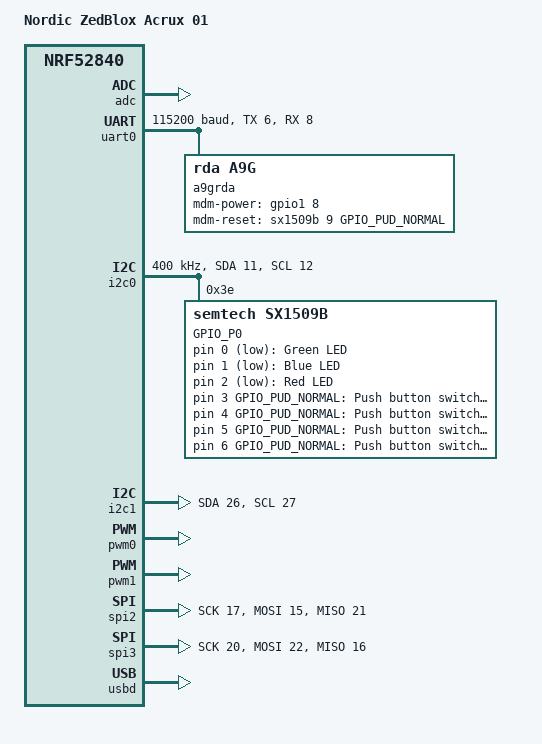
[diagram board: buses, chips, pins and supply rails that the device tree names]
/*
 * Copyright (c) 2017 Linaro Limited
 *
 * SPDX-License-Identifier: Apache-2.0
 */

/dts-v1/;
#include <nordic/nrf52840_qiaa.dtsi>

/ {
	model = "Nordic ZedBlox Acrux 01";
	compatible = "nordic,acrux-01", "nordic,nrf52840-qiaa",
		     "nordic,nrf52840";

	chosen {
		zephyr,console = &uart0;
		zephyr,shell-uart = &uart0;
		zephyr,uart-mcumgr = &uart0;
		zephyr,bt-mon-uart = &uart0;
		zephyr,bt-c2h-uart = &uart0;
		zephyr,sram = &sram0;
		zephyr,flash = &flash0;
		zephyr,code-partition = &slot0_partition;
	};

	/* These aliases are provided for compatibility with samples */
	aliases {
		led0 = &led0;
		led1 = &led1;
		led2 = &led2;
		sw0 = &button0;
		sw1 = &button1;
		sw2 = &button2;
		sw3 = &button3;
	};

	leds {
		compatible = "gpio-leds";
		/* Lightwell RGB */
		led0: led_0 {
			gpios = <&sx1509b 0 GPIO_INT_ACTIVE_LOW>;
			label = "Green LED";
		};
		led1: led_1 {
			gpios = <&sx1509b 1 GPIO_INT_ACTIVE_LOW>;
			label = "Blue LED";
		};
		led2: led_2 {
			gpios = <&sx1509b 2 GPIO_INT_ACTIVE_LOW>;
			label = "Red LED";
		};
	};

	buttons {
		compatible = "gpio-keys";
		button0: button_0 {
			gpios = <&sx1509b 3 GPIO_PUD_NORMAL>;
			label = "Push button switch 0";
		};
		button1: button_1 {
			gpios = <&sx1509b 4 GPIO_PUD_NORMAL>;
			label = "Push button switch 1";
		};
		button2: button_2 {
			gpios = <&sx1509b 5 GPIO_PUD_NORMAL>;
			label = "Push button switch 2";
		};
		button3: button_3 {
			gpios = <&sx1509b 6 GPIO_PUD_NORMAL>;
			label = "Push button switch 3";
		};
	};

};

&adc {
	status = "okay";
};

&gpiote {
	status = "okay";
};

&gpio0 {
	status = "okay";
};

&gpio1 {
	status = "okay";
};

&uart0 {
	compatible = "nordic,nrf-uart";
	status = "okay";
	current-speed = <115200>;
	tx-pin = <6>;
	rx-pin = <8>;

    a9grda {
        compatible = "rda,a9g";
	    label = "a9grda";
		mdm-power-gpios = <&gpio1 8 0>;
		mdm-reset-gpios = <&sx1509b 9 GPIO_PUD_NORMAL>;
		status = "okay";
    };
};

&i2c0 {
	status = "okay";
	clock-frequency = <I2C_BITRATE_FAST>;
	sda-pin = <11>;
	scl-pin = <12>;

	sx1509b: sx1509b@3e {
		compatible = "semtech,sx1509b";
		reg = <0x3e>;
		label = "GPIO_P0";
		gpio-controller;
		#gpio-cells = <2>;
	};

};

&i2c1 {
	status = "okay";
	sda-pin = <26>;
	scl-pin = <27>;
};

&pwm0 {
	status = "okay";
	ch0-pin = <19>;
	ch0-inverted;
};

&pwm1 {
	status = "okay";
	ch0-pin = <7>;
	ch0-inverted;
};

&spi2 {
	status = "okay";
	sck-pin = <17>;
	mosi-pin = <15>;
	miso-pin = <21>;
	cs-gpios = <&gpio0 13 0>;
};

&spi3 {
	status = "okay";
	sck-pin = <20>;
	mosi-pin = <22>;
	miso-pin = <16>;
	cs-gpios = <&gpio0 25 0>;
};

&flash0 {
	/*
	 * For more information, see:
	 * http://docs.zephyrproject.org/latest/guides/dts/index.html#flash-partitions
	 */
	partitions {
		compatible = "fixed-partitions";
		#address-cells = <1>;
		#size-cells = <1>;

		boot_partition: partition@0 {
			label = "mcuboot";
			reg = <0x000000000 0x0000C000>;
		};
		slot0_partition: partition@c000 {
			label = "image-0";
			reg = <0x0000C000 0x000067000>;
		};
		slot1_partition: partition@73000 {
			label = "image-1";
			reg = <0x00073000 0x000067000>;
		};
		scratch_partition: partition@da000 {
			label = "image-scratch";
			reg = <0x000da000 0x0001e000>;
		};

		/*
		 * The flash starting at 0x000f8000 and ending at
		 * 0x000fffff is reserved for use by the application.
		 */

		/* Storage partition will be used by FCB/NFFS/NVS if enabled. */
		storage_partition: partition@f8000 {
			label = "storage";
			reg = <0x000f8000 0x00008000>;
		};
	};
};

&usbd {
	compatible = "nordic,nrf-usbd";
	status = "okay";
};
